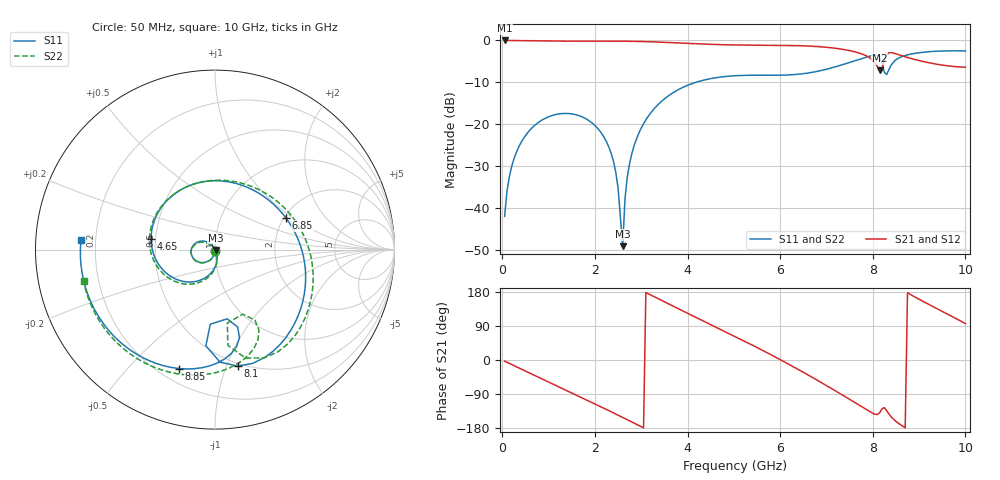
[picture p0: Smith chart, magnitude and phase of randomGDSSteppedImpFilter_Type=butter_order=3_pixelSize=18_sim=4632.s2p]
! freq	dB(S11)	phase(S11)	dB(S12)	phase(S12)
!  dB(S21)	phase(S21)	dB(S22)	phase(S22)
!S-par simulation data
#  GHz  S  DB  R 50
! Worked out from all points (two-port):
!   200 points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, 50 MHz to 10 GHz, reference 50 ohm
!   highest |S21| = -0.01 dB at 50 MHz (marker M1); lowest = -7.2 dB at 8.15 GHz (marker M2)
!   |S21| within 3 dB of the highest: start of sweep to 7.704 GHz; 8.343 GHz to 8.444 GHz (101.1 MHz wide, 1.2 % of centre)
!   lowest |S11| = -49.1 dB at 2.6 GHz (marker M3), VSWR 1.01, Z = 50.3 - j0.132 ohm
!   |S11| at or under -10 dB: start of sweep to 4.181 GHz
!   |S22| runs from -47.1 to -2.4 dB; largest |S21 - S12| = 0
!   S11 on the Smith chart (normalised r, x): 50 MHz: 1.00, -0.02; 4.65 GHz: 0.47, +0.07; 6.85 GHz: 2.05, +0.89; 8.1 GHz: 0.48, -1.10; 8.85 GHz: 0.28, -0.71; 10 GHz: 0.14, +0.04
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0.05  -42.02 -91.4  -0.01 -3.0  -0.01 -3.0  -42.02 -91.3
0.2  -30.23 -101.5  -0.02 -11.8  -0.02 -11.8  -30.23 -101.1
0.55  -22.00 -122.9  -0.07 -32.1  -0.07 -32.1  -22.00 -122.1
1.75  -18.39 166.5  -0.18 -101.2  -0.18 -101.2  -18.39 169.8
2.35  -26.95 129.5  -0.17 -136.5  -0.17 -136.5  -26.98 137.5
2.5  -35.20 117.4  -0.18 -145.5  -0.18 -145.5  -35.23 134.5
2.6  -49.13 -22.0  -0.18 -151.6  -0.18 -151.6  -47.07 -111.9
2.65  -37.74 -60.4  -0.19 -154.6  -0.19 -154.6  -37.42 -76.6
2.8  -26.92 -74.4  -0.21 -163.7  -0.21 -163.7  -26.85 -76.4
3.4  -14.93 -112.9  -0.40 159.7  -0.40 159.7  -14.91 -109.3
4.05  -10.50 -153.0  -0.73 120.4  -0.73 120.4  -10.49 -146.9
4.65  -8.84 170.2  -0.99 84.6  -0.99 84.6  -8.83 178.9
5.05  -8.42 145.3  -1.08 60.6  -1.08 60.6  -8.41 156.0
5.9  -8.32 89.8  -1.16 7.6  -1.16 7.6  -8.32 105.2
6.7  -7.60 34.6  -1.39 -46.2  -1.39 -46.2  -7.61 52.0
6.85  -7.27 24.0  -1.50 -56.8  -1.50 -56.8  -7.28 41.2
7.6  -4.91 -30.6  -2.68 -111.3  -2.68 -111.3  -4.90 -15.8
8.1  -3.58 -78.8  -6.27 -143.8  -6.27 -143.8  -3.57 -65.6
8.15  -4.04 -87.4  -7.16 -139.1  -7.16 -139.1  -4.04 -74.3
8.35  -6.95 -73.7  -2.94 -142.7  -2.94 -142.7  -6.93 -60.5
8.85  -3.20 -106.7  -4.38 170.4  -4.38 170.4  -3.15 -93.6
10  -2.52 175.9  -6.39 96.0  -6.39 96.0  -2.46 -166.5
